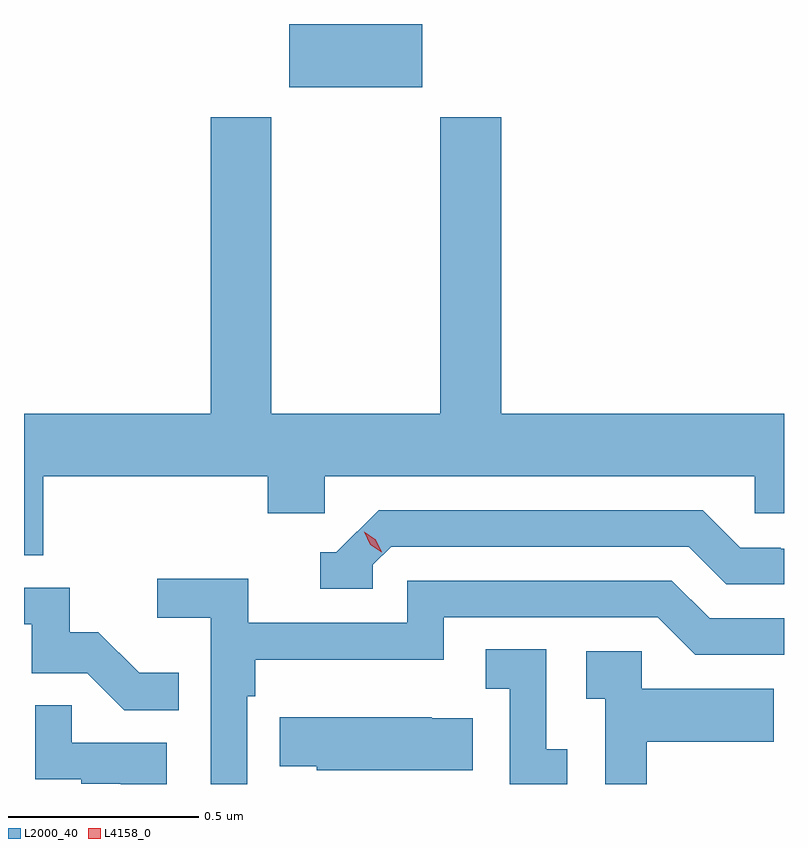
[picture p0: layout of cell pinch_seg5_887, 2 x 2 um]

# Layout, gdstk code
import gdstk
lib = gdstk.Library(unit=1e-6, precision=1e-09)
def R(c, l, rs):  # rectangles x0, y0, x1, y1
    for r in rs: c.add(gdstk.rectangle(r[:2], r[2:], *l))
def P(c, l, *ps):  # polygons
    for p in ps: c.add(gdstk.Polygon(p, *l))
L2000_40 = (2000, 40)
L4158_0 = (4158, 0)

pinch_seg5_887 = lib.new_cell('pinch_seg5_887')
R(pinch_seg5_887, L2000_40, [(834.47,880.427,834.82,880.594)])
P(pinch_seg5_887, L2000_40, [(833.822,879.404),(834.413,879.404),(834.413,879.306),(834.564,879.306),(834.564,879.404),(835.695,879.404),(835.695,879.306),(835.772,879.306),(835.772,879.568),(835.028,879.568),(835.028,880.348),(834.868,880.348),(834.868,879.568),(834.423,879.568),(834.423,880.348),(834.263,880.348),(834.263,879.568),(833.772,879.568),(833.772,879.196),(833.822,879.196)],
  [(834.69,879.171),(834.738,879.219),(835.521,879.219),(835.62,879.12),(835.772,879.12),(835.772,879.213),(835.764,879.213),(835.764,879.216),(835.657,879.216),(835.558,879.315),(834.705,879.315),(834.594,879.204),(834.551,879.204),(834.551,879.108),(834.69,879.108)],
  [(834.36,878.825),(834.38,878.825),(834.38,878.921),(834.876,878.921),(834.876,879.033),(835.44,879.033),(835.539,878.934),(835.772,878.934),(835.772,879.03),(835.576,879.03),(835.477,879.129),(834.78,879.129),(834.78,879.018),(834.362,879.018),(834.362,879.134),(834.123,879.134),(834.123,879.032),(834.264,879.032),(834.264,878.594),(834.36,878.594)],
  [(834.179,878.887),(834.075,878.887),(833.968,878.994),(833.892,878.994),(833.892,879.111),(833.772,879.111),(833.772,879.015),(833.793,879.015),(833.793,878.886),(833.938,878.886),(834.036,878.788),(834.179,878.788)],
  [(835.201,878.685),(835.146,878.685),(835.146,878.948),(834.987,878.948),(834.987,878.845),(835.05,878.845),(835.05,878.594),(835.201,878.594)],
  [(835.411,878.705),(835.745,878.705),(835.745,878.845),(835.398,878.845),(835.398,878.943),(835.251,878.943),(835.251,878.819),(835.302,878.819),(835.302,878.594),(835.411,878.594)],
  [(834.148,878.703),(833.897,878.703),(833.897,878.801),(833.802,878.801),(833.802,878.607),(833.923,878.607),(833.923,878.595),(834.026,878.595),(834.026,878.594),(834.148,878.594)],
  [(834.953,878.767),(834.845,878.767),(834.845,878.77),(834.445,878.77),(834.445,878.641),(834.543,878.641),(834.543,878.63),(834.953,878.63)])
P(pinch_seg5_887, L4158_0, [(834.713,879.204),(834.683,879.224),(834.667,879.258),(834.667,879.258),(834.668,879.258),(834.698,879.237),(834.713,879.204),(834.713,879.204)])

lib.write_gds('pinch_seg5_887.gds')
